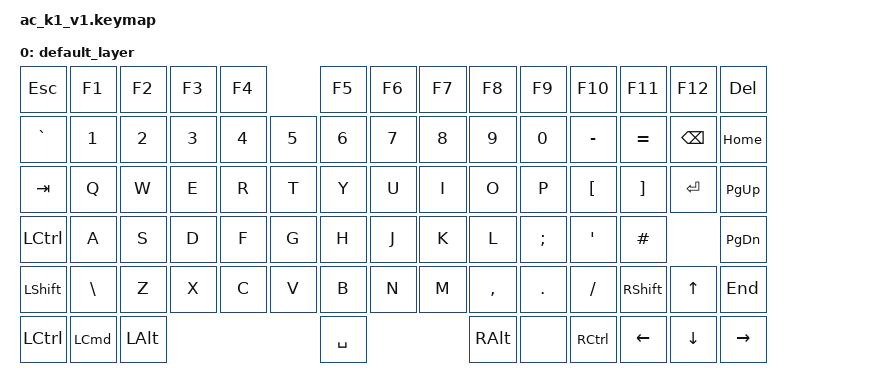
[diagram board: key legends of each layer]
#include <behaviors.dtsi>
#include <dt-bindings/zmk/keys.h>

/ {
	keymap {
		compatible = "zmk,keymap";

		default_layer {
			// ┌───┐ ┌───┬───┬───┬───┐┌───┬───┬───┬───┐┌───┬───┬───┬───┐
			// │ESC│ │F1 │F2 │F3 │F4 ││F5 │F6 │F7 │F8 ││F9 │F10│F11│F12│
			// ├───┼─┴─┬─┴─┬─┴─┬─┴─┬─┴┴┬──┴┬──┴┬──┴┬──┴┼───┼───┼───┼───┼───┬───┐
			// │ ` │ 1 │ 2 │ 3 │ 4 │ 5 │ 6 │ 7 │ 8 │ 9 │ 0 │ ß │ ´ │ ← │DEL│HOM│
			// ├───┴─┬─┴─┬─┴─┬─┴─┬─┴─┬─┴─┬─┴─┬─┴─┬─┴─┬─┴─┬─┴─┬─┴─┬─┴─┬─┴───┼───┤
			// │ TAB │ Q │ W │ E │ R │ T │ Z │ U │ I │ O │ P │ Ü │ + │ENTER│PGU│
			// ├─────┴┬──┴┬──┴┬──┴┬──┴┬──┴┬──┴┬──┴┬──┴┬──┴┬──┴┬──┴┬──┴┐    ├───┤
			// │LCTRL │ A │ S │ D │ F │ G │ H │ J │ K │ L │ Ö │ Ä │ # │    │PGD│
			// ├─────┬┴──┬┴──┬┴──┬┴──┬┴──┬┴──┬┴──┬┴──┬┴──┬┴──┬┴──┬┴───┴┬───┼───┤
			// │LSHIF│ < │ Y │ X │ C │ V │ B │ N │ M │ , │ . │ - │RSHIF│ ↑ │END│
			// ├────┬┴───┼───┴┬──┴───┴───┴───┴───┴──┬┴───┼───┴┬──┴─┬───┼───┼───┤
			// │LCTR│ OS │LALT│        SPACE        │RALT│    │RCTR│ ← │ ↓ │ → │
			// └────┴────┴────┴─────────────────────┴────┴────┴────┴───┴───┴───┘

			bindings = <
&kp ESC    &kp F1    &kp F2    &kp F3  &kp F4          &kp F5     &kp F6  &kp F7  &kp F8     &kp F9         &kp F10    &kp F11    &kp F12        &kp DEL
&kp GRAVE  &kp N1    &kp N2    &kp N3  &kp N4  &kp N5  &kp N6     &kp N7  &kp N8  &kp N9     &kp N0         &kp MINUS  &kp EQUAL  &kp BACKSPACE  &kp HOME
&kp TAB    &kp Q     &kp W     &kp E   &kp R   &kp T   &kp Y      &kp U   &kp I   &kp O      &kp P          &kp LBKT   &kp RBKT   &kp ENTER      &kp PG_UP
&kp LCTRL  &kp A     &kp S     &kp D   &kp F   &kp G   &kp H      &kp J   &kp K   &kp L      &kp SEMICOLON  &kp SQT    &kp HASH                  &kp PG_DN
&kp LSHFT  &kp BSLH  &kp Z     &kp X   &kp C   &kp V   &kp B      &kp N   &kp M   &kp COMMA  &kp DOT        &kp FSLH   &kp RSHFT  &kp UP         &kp END
&kp LCTRL  &kp LCMD  &kp LALT                          &kp SPACE                  &kp RALT   &none          &kp RCTRL  &kp LEFT   &kp DOWN       &kp RIGHT
			>;
		};
	};
};
